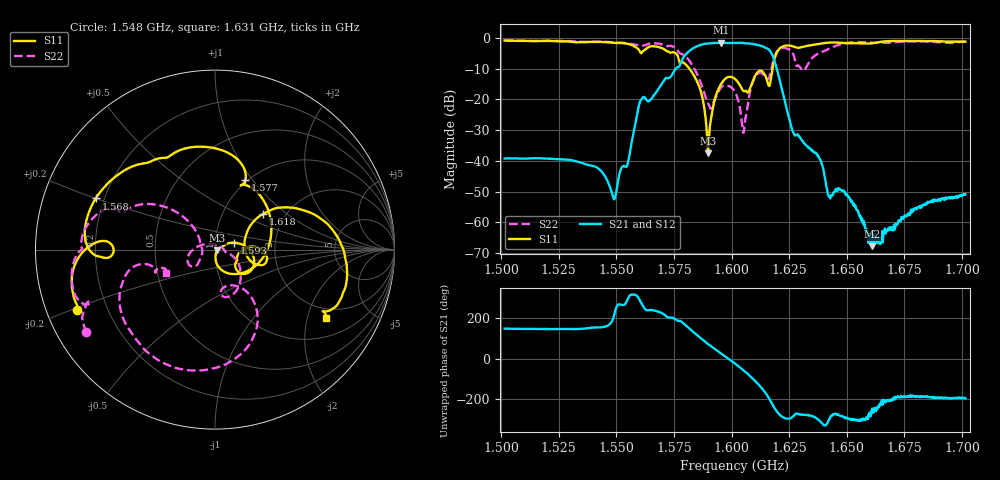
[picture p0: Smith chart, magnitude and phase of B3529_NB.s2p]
! Matrix data file written by TouchstoneData, EPCOS AG
! FILENAME: "LT34A_1_NB.s2p"
! COMMENT: "PCB: 2022; PINNING: 2/5; PORTEXT1: 87.4PS; P"
! INFO: nport=2, nfreq=1601
! DATE: "Fri Feb 22 08:53:21 2008"
! USER: "Aleksander Breg"
# MHZ S MA R 50
! freq  magS11 angS11  magS21 angS21  magS12 angS12  magS22 angS22
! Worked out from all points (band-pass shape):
!   1601 points, 1.502 GHz to 1.702 GHz, reference 50 ohm
!   highest |S21| = -1.52 dB at 1.595 GHz (marker M1); lowest = -67.8 dB at 1.661 GHz (marker M2)
!   |S21| within 3 dB of the highest: 1.581 GHz to 1.617 GHz (35.76 MHz wide, 2.24 % of centre)
!   lowest |S11| = -37.6 dB at 1.59 GHz (marker M3), VSWR 1.03, Z = 51.3 - j0.466 ohm
!   |S11| at or under -10 dB: 1.582 GHz to 1.618 GHz (36.06 MHz wide, 2.25 % of centre)
!   |S22| runs from -30.9 to -0.8 dB; largest |S21 - S12| = 0.0024
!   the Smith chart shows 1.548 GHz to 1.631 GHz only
!   S11 on the Smith chart (normalised r, x): 1.548 GHz: 0.09, -0.21; 1.568 GHz: 0.17, +0.20; 1.577 GHz: 0.98, +0.92; 1.593 GHz: 1.23, +0.10; 1.618 GHz: 1.55, +0.69; 1.631 GHz: 1.64, -2.64
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1501.5  0.9106 -121.2  0.01089 147.6  0.01091 147.5  0.9123 -124.5
1534.875  0.8597 -139.1  0.009264 146.8  0.009262 146.5  0.8646 -138.7
1548.125  0.8389 -156.2  0.002933 -175.8  0.002952 -176.2  0.8511 -147.3
1560.625  0.5684 178.5  0.09699 -83.5  0.09665 -83.4  0.7516 -157.2
1567.625  0.7228 156.8  0.1365 -127.1  0.1361 -127.0  0.8139 -168.6
1568.25  0.7138 152.8  0.1479 -129.5  0.1473 -129.4  0.8088 -170.4
1577.25  0.4224 66.4  0.3423 -174.5  0.342 -174.5  0.5766 158.1
1585.75  0.1697 -53.3  0.7535 108.8  0.7527 108.8  0.226 133.5
1589.875  0.01325 -20.1  0.8138 71.2  0.8135 71.3  0.085 162.5
1593.125  0.1127 20.2  0.8327 44.3  0.8328 44.4  0.1075 -144.4
1595.375  0.176 4.3  0.8391 25.9  0.8391 25.9  0.1564 -142.7
1601.5  0.216 -38.8  0.832 -23.9  0.8318 -23.8  0.1315 -176.3
1605.25  0.1367 -32.9  0.8309 -58.1  0.8303 -58.1  0.0288 64.4
1609.5  0.2107 4.7  0.7969 -101.1  0.7969 -101.0  0.2026 -45.1
1617.875  0.3342 36.5  0.5093 133.0  0.5103 133.2  0.3954 -54.6
1625.5  0.7511 -22.5  0.04124 67.3  0.04133 67.1  0.637 -143.9
1631.375  0.727 -31.4  0.01953 84.9  0.01953 84.8  0.3034 -155.0
1634.875  0.7693 -36.3  0.01508 78.5  0.01506 78.4  0.4681 -167.0
1644.625  0.8439 -50.6  0.003104 87.3  0.00309 87.2  0.7305 75.4
1660.875  0.8183 -59.9  0.0004073 98.6  0.0004079 96.9  0.8427 -26.3
1668.25  0.8902 -64.3  0.0007401 155.0  0.0007347 154.4  0.8396 -40.8
1701.5  0.8708 -78.8  0.002866 165.6  0.00289 165.8  0.8757 -72.2
